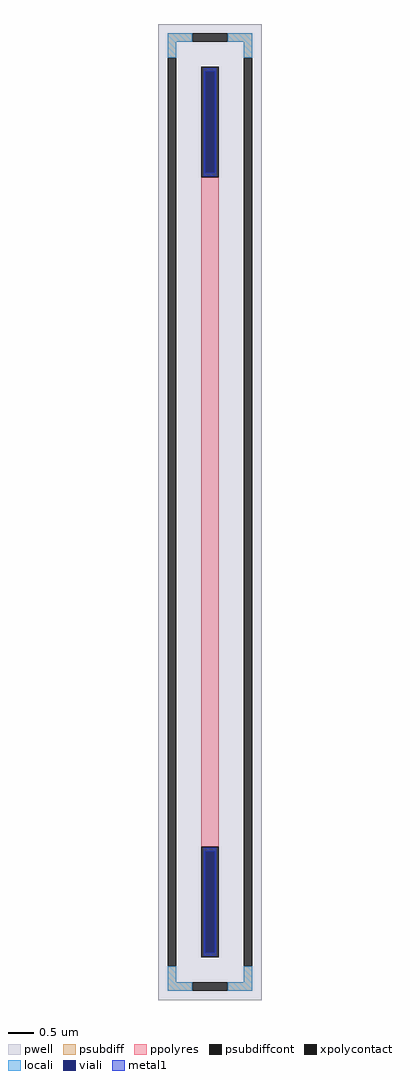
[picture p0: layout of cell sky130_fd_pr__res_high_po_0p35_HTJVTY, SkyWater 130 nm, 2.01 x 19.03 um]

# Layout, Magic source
magic
tech sky130B
magscale 1 2
<< pwell >>
rect -201 -1903 201 1903
<< psubdiff >>
rect -165 1833 -69 1867
rect 69 1833 165 1867
rect -165 1771 -131 1833
rect 131 1771 165 1833
rect -165 -1833 -131 -1771
rect 131 -1833 165 -1771
rect -165 -1867 -69 -1833
rect 69 -1867 165 -1833
<< psubdiffcont >>
rect -69 1833 69 1867
rect -165 -1771 -131 1771
rect 131 -1771 165 1771
rect -69 -1867 69 -1833
<< xpolycontact >>
rect -35 1305 35 1737
rect -35 -1737 35 -1305
<< ppolyres >>
rect -35 -1305 35 1305
<< locali >>
rect -165 1833 -69 1867
rect 69 1833 165 1867
rect -165 1771 -131 1833
rect 131 1771 165 1833
rect -165 -1833 -131 -1771
rect 131 -1833 165 -1771
rect -165 -1867 -69 -1833
rect 69 -1867 165 -1833
<< viali >>
rect -19 1322 19 1719
rect -19 -1719 19 -1322
<< metal1 >>
rect -25 1719 25 1731
rect -25 1322 -19 1719
rect 19 1322 25 1719
rect -25 1310 25 1322
rect -25 -1322 25 -1310
rect -25 -1719 -19 -1322
rect 19 -1719 25 -1322
rect -25 -1731 25 -1719
<< properties >>
string FIXED_BBOX -148 -1850 148 1850
string gencell sky130_fd_pr__res_high_po_0p35
string library sky130
string parameters w 0.35 l 13.21 m 1 nx 1 wmin 0.350 lmin 0.50 rho 319.8 val 13.183k dummy 0 dw 0.0 term 194.82 sterm 0.0 caplen 0 guard 1 glc 1 grc 1 gtc 1 gbc 1 compatible {sky130_fd_pr__res_high_po_0p35  sky130_fd_pr__res_high_po_0p69 sky130_fd_pr__res_high_po_1p41  sky130_fd_pr__res_high_po_2p85 sky130_fd_pr__res_high_po_5p73} snake 0 full_metal 1 wmax 0.350 vias 1 n_guard 0 hv_guard 0 viagb 0 viagt 0 viagl 0 viagr 0
<< end >>
